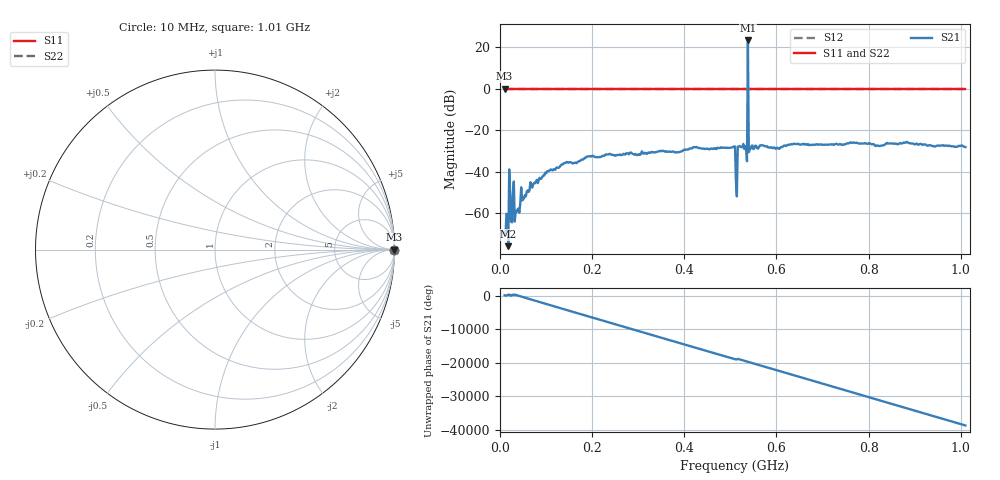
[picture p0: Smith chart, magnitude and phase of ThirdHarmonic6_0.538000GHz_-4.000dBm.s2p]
! 8/15/2025 4:50:42 PM
! C:\ANRITSUVNA\TEMP\TEMP.S2P
! CHANNEL.1
! TR.MEASUREMENT
! RAW.DATA
! RF.CORRECTION.OFF
! AVERAGING.OFF
! IF.BANDWIDTH: 5KHZ
! SWEEPTYPE:  FREQ.SWEEP(Linear)
! Reference Plane Port Info
! PORT:  PORT1  PORT2
! DISTANCE:  0  m  0  m
! TIME:  0  s  0  s
! PHASE.OFFSET:  0  deg.  0  deg.
! LOSS:  0  dB  0  dB
! REF.LOSS:  0  dB  0  dB
! REF.FREQ:  0  Hz  0  Hz
! Power Info
! POWER:  -20  dBm  -20  dBm
! EFF.POWER:  -20  dBm  -20  dBm
! SOURCE.ATTEN:  0  dB  0  dB
! TEST.ATTEN:  0  dB  0  dB
# GHZ S RI R 50.0
! FREQ.GHZ  S11RE  S11IM  S21RE  S21IM  S12RE  S12IM  S22RE  S22IM
!; PortSelection: Port_12
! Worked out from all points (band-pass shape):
!   501 points, 10 MHz to 1.01 GHz, reference 50 ohm
!   highest |S21| = 23.13 dB at 538 MHz (marker M1); lowest = -75.8 dB at 18 MHz (marker M2)
!   |S21| within 3 dB of the highest: 537.8967 MHz to 538.1117 MHz (215 kHz wide, 0.04 % of centre)
!   lowest |S11| = 0.0 dB at 10 MHz (marker M3)
!   |S11| at or under -10 dB: nowhere
!   |S22| runs from 0.0 to 0.0 dB; largest |S21 - S12| = 15
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0.01  1 0  -0.000328 4.8e-05  1 0  1 0
0.014  1 0  -0.000468 0.000852  1 0  1 0
0.018  1 0  6.54e-05 -0.000148  1 0  1 0
0.022  1 0  -0.00272 -0.00163  1 0  1 0
0.024  1 0  0.00027 0.000566  1 0  1 0
0.036  1 0  -0.00107 -0.000117  1 0  1 0
0.05  1 0  0.00208 -0.000508  1 0  1 0
0.102  1 0  0.00889 0.00485  1 0  1 0
0.178  1 0  -0.0195 -0.00292  1 0  1 0
0.344  1 0  0.0287 -0.011  1 0  1 0
0.506  1 0  0.0231 -0.0318  1 0  1 0
0.51  1 0  -0.0327 0.024  1 0  1 0
0.516  1 0  -0.00697 -0.0394  1 0  1 0
0.52  1 0  -0.00808 0.0405  1 0  1 0
0.532  1 0  0.0359 -0.0144  1 0  1 0
0.534  1 0  -0.00569 -0.0411  1 0  1 0
0.538  1 0  -2.957 14.03  1 0  1 0
0.542  1 0  0.0127 -0.0317  1 0  1 0
0.544  1 0  -0.0273 -0.0235  1 0  1 0
0.678  1 0  -0.0309 -0.0315  1 0  1 0
0.844  1 0  0.0441 0.0179  1 0  1 0
1.01  1 0  -0.0385 0.00642  1 0  1 0
